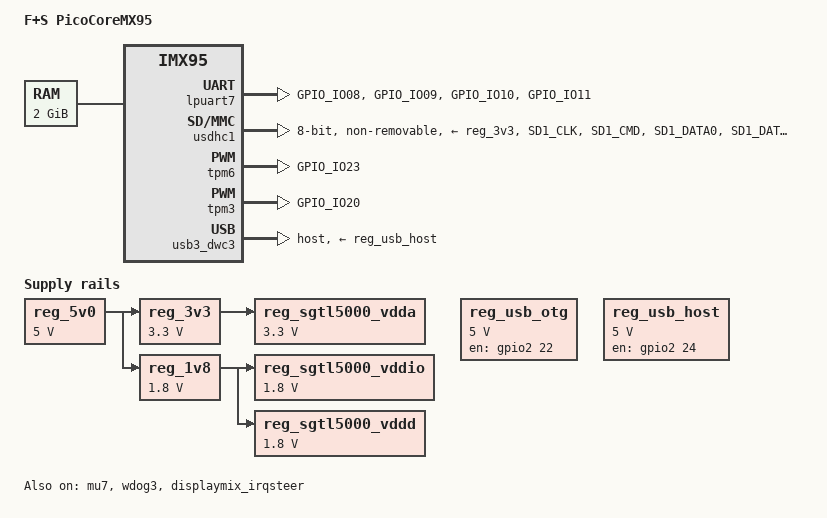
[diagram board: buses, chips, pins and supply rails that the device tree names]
// SPDX-License-Identifier: GPL-2.0
/*
 * Copyright (C) 2026 F&S Elektronik Systeme GmbH
 *
 * This program is free software; you can redistribute it and/or modify
 * it under the terms of the GNU General Public License version 2 as
 * published by the Free Software Foundation.
 */

// #include <dt-bindings/i3c/i3c.h>
// #include <dt-bindings/leds/common.h>
// #include <dt-bindings/phy/phy-imx8-pcie.h>
// #include <dt-bindings/pwm/pwm.h>
// #include <dt-bindings/usb/pd.h>
#include <dt-bindings/rtc/pcf85363.h>
#include "../freescale/imx95.dtsi"
#include <fsversion.h>

fs_eth_a: &enetc_port0 {};
fs_eth_b: &enetc_port1 {};
fs_uart_a: &lpuart7 {};
fs_uart_b: &lpuart6 {};
fs_uart_c: &lpuart1 {};
fs_uart_d: &lpuart2 {};
fs_i2c_int: &lpi2c2 {};
fs_i2c_a: &lpi2c1 {};
fs_i2c_b: &lpi2c8 {};
fs_i2c_c: &lpi2c4 {};
fs_i2c_d: &lpi2c3 {};
fs_i2s_a: &sai5 {};
fs_i2s_b: &sai4 {};
fs_spi_a: &lpspi6 {};
fs_spi_b: &lpspi1 {};
emmc: &usdhc1 {};
fs_sdio_a: &usdhc2 {};
fs_sdio_b: &usdhc3 {};
fs_can_a: &flexcan1 {};
fs_usb_otg: &usb2 {};
fs_usb_host: &usb3 {};
fs_pwm: &tpm6 {};
fs_disp_pwm: &tpm3 {};


/ {
	compatible = "fus,picocoremx95", "fsl,imx95";
	model = "F+S PicoCoreMX95";

	/delete-node/ aliases;
	aliases {
		ethernet0 = &fs_eth_a;
		ethernet1 = &fs_eth_b;
		gpio0 = &gpio1;
		gpio1 = &gpio2;
		gpio2 = &gpio3;
		gpio3 = &gpio4;
		gpio4 = &gpio5;
		i2c0 = &fs_i2c_int;
		i2c1 = &fs_i2c_a;
		i2c2 = &fs_i2c_b;
		i2c3 = &fs_i2c_c;
		i2c4 = &fs_i2c_d;
		mmc0 = &emmc;
		mmc1 = &fs_sdio_a;
		mmc2 = &fs_sdio_b;
		serial0 = &fs_uart_a;
		serial1 = &fs_uart_b;
		serial2 = &fs_uart_c;
		serial3 = &fs_uart_d;
		rtc1 = &rtc85263;
	};

	chosen {
		bootargs = "console=ttyLP0,115200";
		stdout-path = &fs_uart_a;
	};

	memory@80000000 {
		/* fixup in u-boot */
		device_type = "memory";
		reg = <0x0 0x80000000 0 0x80000000>;
	};

	reserved-memory {
		ranges;
		#address-cells = <2>;
		#size-cells = <2>;

		linux_cma: linux,cma {
			compatible = "shared-dma-pool";
			alloc-ranges = <0 0x80000000 0 0x7F000000>;
			reusable;
			size = <0 0x3c000000>;
			linux,cma-default;
		};

		vpu_boot: vpu_boot@a0000000 {
			reg = <0 0xa0000000 0 0x100000>;
			no-map;
		};

		mali_protected: mali_protected {
			reg = <0 0xa0100000 0 0x1000000>;
			no-map;
		};

		ele_reserved: ele-reserved@a4120000 {
			compatible = "shared-dma-pool";
			reg = <0 0xa4120000 0 0x100000>;
			no-map;
		};

#ifdef SUPPORT_RPMSG
		vdev0vring0: vdev0vring0@88000000 {
			reg = <0 0x88000000 0 0x8000>;
			no-map;
		};

		vdev0vring1: vdev0vring1@88008000 {
			reg = <0 0x88008000 0 0x8000>;
			no-map;
		};

		vdev1vring0: vdev1vring0@88010000 {
			reg = <0 0x88010000 0 0x8000>;
			no-map;
		};

		vdev1vring1: vdev1vring1@88018000 {
			reg = <0 0x88018000 0 0x8000>;
			no-map;
		};

		vdevbuffer: vdevbuffer@88020000 {
			compatible = "shared-dma-pool";
			reg = <0 0x88020000 0 0x100000>;
			no-map;
		};

		rsc_table: rsc-table@88220000 {
			reg = <0 0x88220000 0 0x1000>;
			no-map;
		};
#endif /* SUPPORT_RPMSG */
	};

	regulators {
		compatible = "simple-bus";
		#address-cells = <1>;
		#size-cells = <0>;

		reg_5v0: regulator-5v {
			compatible = "regulator-fixed";
			regulator-name = "5V0";
			regulator-min-microvolt = <5000000>;
			regulator-max-microvolt = <5000000>;
			regulator-always-on;
			regulator-boot-on;
		};

		reg_3v3: regulator-3v3 {
			compatible = "regulator-fixed";
			regulator-name = "3V3";
			regulator-min-microvolt = <3300000>;
			regulator-max-microvolt = <3300000>;
			vin-supply = <&reg_5v0>;
			regulator-always-on;
			regulator-boot-on;
		};

		reg_1v8: regulator-1v8 {
			compatible = "regulator-fixed";
			regulator-name = "1V8";
			regulator-min-microvolt = <1800000>;
			regulator-max-microvolt = <1800000>;
			vin-supply = <&reg_5v0>;
			regulator-always-on;
			regulator-boot-on;
		};

		reg_usb_otg: regulator_usb_otg {
			compatible = "regulator-fixed";
			regulator-name = "usb-otg";
			regulator-min-microvolt = <5000000>;
			regulator-max-microvolt = <5000000>;
			gpio = <&gpio2 22 GPIO_ACTIVE_HIGH>;
			enable-active-high;
		};

		reg_usb_host: regulator_usb_host {
			compatible = "regulator-fixed";
			regulator-name = "usb-host";
			regulator-min-microvolt = <5000000>;
			regulator-max-microvolt = <5000000>;
			gpio = <&gpio2 24 GPIO_ACTIVE_HIGH>;
			enable-active-high;
		};

		/* SGTL5000 analog voltage */
 		reg_sgtl5000_vdda: sgtl5000_vdda {
 			compatible = "regulator-fixed";
 			regulator-name = "VDDA-supply";
 			regulator-min-microvolt = <3300000>;
 			regulator-max-microvolt = <3300000>;
			vin-supply = <&reg_3v3>;
 			regulator-always-on;
 		};

 		/* SGTL5000 I/O voltage */
 		reg_sgtl5000_vddio: sgtl5000_vddio {
 			compatible = "regulator-fixed";
 			regulator-name = "VDDIO-supply";
 			regulator-min-microvolt = <1800000>;
 			regulator-max-microvolt = <1800000>;
			vin-supply = <&reg_1v8>;
			regulator-always-on;
 		};

 		/* SGTL5000 internal digital voltage */
 		reg_sgtl5000_vddd: sgtl5000_vddd {
 			compatible = "regulator-fixed";
 			regulator-name = "VDDD-supply";
 			regulator-min-microvolt = <1800000>;
 			regulator-max-microvolt = <1800000>;
			vin-supply = <&reg_1v8>;
 			regulator-always-on;
		};
	};

	mali_pma: protected-memory-allocator {
		 compatible = "arm,protected-memory-allocator";
		 memory-region = <&mali_protected>;
	};

	/* NOTE:
	 * SGTL SYSCLK supports only one static frequency, here it is 48kHz.
	 * Simple-Audio-Card only supports 48Khz for Input and Output.
	 * use this driver to force user-space to use 48kHz sample rate.
	 */
	sound_sgtl5000: sound {
		compatible = "simple-audio-card";
		simple-audio-card,name = "sgtl5000-audio";
		simple-audio-card,format = "i2s";
		simple-audio-card,frame-master = <&cpu_dai>;
		simple-audio-card,bitclock-master = <&cpu_dai>;
		status = "disabled";

		cpu_dai: simple-audio-card,cpu {
			sound-dai = <&fs_i2s_a>;
		};

		codec_dai: simple-audio-card,codec {
			sound-dai = <&sgtl5000>;
		};
	};

#ifdef SUPPORT_RPMSG
	cm7: imx95-cm7 {
		compatible = "fsl,imx95-cm7";
		mbox-names = "tx", "rx", "rxdb";
		mboxes = <&mu7 0 1
			  &mu7 1 1
			  &mu7 3 1>;
		memory-region = <&vdevbuffer>, <&vdev0vring0>, <&vdev0vring1>,
				<&vdev1vring0>, <&vdev1vring1>, <&rsc_table>;
		/* cpuid and lmmid must align with SM firmware */
		fsl,cpu-id = <1>;
		fsl,lmm-id = <1>;
		fsl,startup-delay-ms = <50>;
		status = "okay";
	};
#endif /* SUPPORT_RPMSG */

};

/* ==== Ethernet ==== */
/* The default setting in i.mx95.dtsi are for i.MX95 19x19,
 * so change them for i.MX95 15x15 here.
 */
&netc_bus0 {
	msi-map = <0x00 &its 0x60 0x1>,	//ENETC0 PF
		  <0x10 &its 0x61 0x1>, //ENETC0 VF0
		  <0x20 &its 0x62 0x1>, //ENETC0 VF1
		  <0x40 &its 0x63 0x1>, //ENETC1 PF
		  <0x50 &its 0x65 0x1>, //ENETC1 VF0
		  <0x60 &its 0x66 0x1>, //ENETC1 VF1
		  <0x80 &its 0x64 0x1>, //ENETC2 PF
		  <0xc0 &its 0x67 0x1>; //NETC Timer
	iommu-map = <0x0 &smmu 0x20 0x1>,
		    <0x10 &smmu 0x21 0x1>,
		    <0x20 &smmu 0x22 0x1>,
		    <0x40 &smmu 0x23 0x1>,
		    <0x50 &smmu 0x25 0x1>,
		    <0x60 &smmu 0x26 0x1>,
		    <0x80 &smmu 0x24 0x1>,
		    <0xc0 &smmu 0x27 0x1>;
};

// TODO: Check if needed
&netc_timer {
	status = "disabled";
};

&netc_blk_ctrl {
	status = "disabled";
};

&netc_emdio {
	pinctrl-0 = <&pinctrl_emdio>;
	pinctrl-names = "default";
	status = "disabled";

	//TODO: Phys
	// RESET via SM
	ethphy0: ethernet-phy@4 {
		reg = <4>;
		// reset-assert-us = <10000>;
		// reset-deassert-us = <150000>;
		// reset-gpios = <&dummy 4 GPIO_ACTIVE_LOW>;
		realtek,clkout-disable;
		interrupt-parent = <&gpio4>;
		interrupts = <14 IRQ_TYPE_EDGE_FALLING>;
	};

	ethphy1: ethernet-phy@5 {
		reg = <5>;
		// reset-assert-us = <10000>;
		// reset-deassert-us = <150000>;
		// reset-gpios = <&dummy 5 GPIO_ACTIVE_LOW>;
		realtek,clkout-disable;
		interrupt-parent = <&gpio4>;
		interrupts = <15 IRQ_TYPE_EDGE_FALLING>;
	};
};

&fs_eth_a {
	pinctrl-0 = <&pinctrl_enetc0>;
	pinctrl-names = "default";
	phy-mode = "rgmii-id";
	phy-handle = <&ethphy0>;
	status = "disabled";
};

&fs_eth_b {
	pinctrl-0 = <&pinctrl_enetc1>;
	pinctrl-names = "default";
	phy-mode = "rgmii-id";
	phy-handle = <&ethphy1>;
	status = "disabled";
};

/* ==== UART ==== */
&fs_uart_a {
	pinctrl-0 = <&pinctrl_lpuart7>;
	pinctrl-names = "default";
	status = "okay";
};

&fs_uart_b {
	pinctrl-0 = <&pinctrl_lpuart6>;
	pinctrl-names = "default";
	status = "disabled";
};

&fs_uart_c {
	pinctrl-0 = <&pinctrl_lpuart1>;
	pinctrl-names = "default";
	status = "disabled";
};

&fs_uart_d {
	pinctrl-0 = <&pinctrl_lpuart2>;
	pinctrl-names = "default";
	status = "disabled";
};

/* ==== I2C ==== */
&fs_i2c_int {
	/* LPI2C2 reserved for Cortex-M33 */
	pinctrl-0 = <&pinctrl_lpi2c2>;
	pinctrl-names = "default";
	#address-cells = <1>;
	#size-cells = <0>;
	status = "disabled";

	rtc85263: rtc85263@51 {
		compatible = "nxp,pcf85263";
		reg = <0x51>;
		clock-out = <PCF85363_COF_32768Hz>;
		quartz-load-femtofarads = <PCF85363_CAP_12p5pF>;
		quartz-drive-strength = <PCF85363_OSC_DRIVE_LOW>;
	};

	pcal6408: pcal6408@21 {
		compatible = "nxp,pcal6408";
		reg = <0x21>;
		gpio-controller;
		#gpio-cells = <2>;
		interrupt-parent = <&gpio1>;
		interrupts = <10 IRQ_TYPE_EDGE_FALLING>;
		interrupt-controller;
		#interrupt-cells = <2>;
		vcc-supply = <&reg_5v0>;
		gpio-line-names =
		/* 0-3 */	"V_ARM_PGOOD","V_SOC_PGOOD","RTC_IRQ","PMIC_IRQ",
		/* 4-7 */	"PCIe_WAKE","PCIE_PERST","ETH_A_PHY_RST","ETH_B_PHY_RST";
	};
};

&fs_i2c_a {
	pinctrl-0 = <&pinctrl_lpi2c1>;
	pinctrl-names = "default";
	#address-cells = <1>;
	#size-cells = <0>;
	status = "disabled";

	eeprom: eeprom@50 {
		compatible = "onnn,n24s64b", "atmel,24c64";
		reg = <0x50>;
		size = <8192>;
		pagesize = <32>;
	};
};

&fs_i2c_b {
	pinctrl-0 = <&pinctrl_lpi2c8>;
	pinctrl-names = "default";
	#address-cells = <1>;
	#size-cells = <0>;
	status = "disabled";
};

&fs_i2c_c {
	pinctrl-0 = <&pinctrl_lpi2c4>;
	pinctrl-names = "default";
	#address-cells = <1>;
	#size-cells = <0>;
	status = "disabled";
};

&fs_i2c_d {
	pinctrl-0 = <&pinctrl_lpi2c3>;
	pinctrl-names = "default";
	#address-cells = <1>;
	#size-cells = <0>;
	status = "disabled";

	sgtl5000: sgtl5000@a {
		/* NOTE: Codec supports only 48KHz */
		compatible = "fsl,sgtl5000";
		#sound-dai-cells = <0>;
		reg = <0xa>;
		VDDA-supply = <&reg_sgtl5000_vdda>;
		VDDIO-supply = <&reg_sgtl5000_vddio>;
		VDDD-supply = <&reg_sgtl5000_vddd>;
		clocks = <&scmi_clk IMX95_CLK_CCMCKO1>;
		clock-names = "mclk";
		assigned-clocks = <&scmi_clk IMX95_CLK_CCMCKO1>;
		assigned-clock-parents = <&scmi_clk IMX95_CLK_AUDIOPLL1>;
		assigned-clock-rates = <12288000>; //48kHz * 256
		mono2both;
		status = "disabled";
	};
};

/* ==== SAI ==== */
&fs_i2s_a {
	#sound-dai-cells = <0>;
	pinctrl-0 = <&pinctrl_sai5>;
	pinctrl-names = "default";
	assigned-clocks = <&scmi_clk IMX95_CLK_AUDIOPLL1_VCO>,
			  <&scmi_clk IMX95_CLK_AUDIOPLL2_VCO>,
			  <&scmi_clk IMX95_CLK_AUDIOPLL1>,
			  <&scmi_clk IMX95_CLK_AUDIOPLL2>,
			  <&scmi_clk IMX95_CLK_SAI5>;
	assigned-clock-parents = <0>, <0>, <0>, <0>, <&scmi_clk IMX95_CLK_AUDIOPLL1>;
	assigned-clock-rates = <3932160000>, <3612672000>, <393216000>, <361267200>, <12288000>;
	status = "disabled";
};

&fs_i2s_b {
	#sound-dai-cells = <0>;
	pinctrl-0 = <&pinctrl_sai4>;
	pinctrl-names = "default";
	status = "disabled";
};

/* ==== SPI ==== */
&fs_spi_a {
	pinctrl-0 = <&pinctrl_lpspi6>;
	pinctrl-names = "default";
	// cs-gpios = <&gpio2 0 GPIO_ACTIVE_LOW>;
	// num-cs = <1>;
	status = "disabled";
};

&fs_spi_b {
	pinctrl-0 = <&pinctrl_lpspi1>;
	pinctrl-names = "default";
	// cs-gpios = <&gpio1 11 GPIO_ACTIVE_LOW>;
	// num-cs = <1>;
	status = "disabled";
#if CONFIG_PICOCOREMX95_BOARD_REVISION == 100
	swap_sout_sin;
#endif
};

/* ==== SDIO ==== */
&emmc {
	pinctrl-names = "default", "state_100mhz", "state_200mhz";
	pinctrl-0 = <&pinctrl_usdhc1>;
	pinctrl-1 = <&pinctrl_usdhc1_100mhz>;
	pinctrl-2 = <&pinctrl_usdhc1_200mhz>;
	vmmc-supply = <&reg_3v3>;
	vqmmc-supply = <&reg_1v8>;
	bus-width = <8>;
	mmc-hs200-1_8v;
	mmc-hs400-1_8v;
	non-removable;
	status = "okay";
};

&fs_sdio_a {
	pinctrl-names = "default", "state_100mhz", "state_200mhz";
	pinctrl-0 = <&pinctrl_usdhc2>;
	pinctrl-1 = <&pinctrl_usdhc2_100mhz>;
	pinctrl-2 = <&pinctrl_usdhc2_200mhz>;
	bus-width = <4>;
	status = "disabled";
};

&fs_sdio_b {
	pinctrl-names = "default", "state_100mhz", "state_200mhz";
	pinctrl-0 = <&pinctrl_usdhc3>;
	pinctrl-1 = <&pinctrl_usdhc3_100mhz>;
	pinctrl-2 = <&pinctrl_usdhc3_200mhz>;
	bus-width = <4>;
	status = "disabled";
};

/* ==== CAN ==== */
&fs_can_a {
	pinctrl-0 = <&pinctrl_flexcan1>;
	pinctrl-names = "default";
	status = "disabled";
};

/* ==== USB ==== */
/* OTG */
&fs_usb_otg {
	dr_mode = "otg";
	vbus-supply = <&reg_usb_otg>;
	disable-over-current;
	status = "disabled";
};

/* HOST */
&fs_usb_host {
	status = "disabled";
};

&usb3_dwc3 {
	dr_mode = "host";
	vbus-supply = <&reg_usb_host>;
};

&usb3_phy {
	status = "disabled";
};

/* ==== PWM ====*/
&fs_pwm {
	pinctrl-0 = <&pinctrl_tpm6>;
	pinctrl-names = "default";
};

&fs_disp_pwm {
	pinctrl-0 = <&pinctrl_tpm3>;
	pinctrl-names = "default";
};

/* ==== GPIOs ==== */
&gpio1 {
	/* GPIO1 reserved for Cortex-M33 */
	pinctrl-0 = <&pinctrl_gpio1>;
	pinctrl-names = "default";
	status = "disabled";

	gpio-line-names = 
	/* 0 */   "I2C_A_SCL", "I2C_A_SDA", "I2C_SM_SCL", "I2C_SM_SDA",
	/* 4 */   "UART_C_RX", "UART_C_TX", "UART_D_RX", "UART_D_TX",
	/* 8 */   "", "", "IOEXP_IRQ", "SPI_B_CS",
	/* 12 */  "SPI_B_MISO", "SPI_B_CLK", "SPI_B_MOSI", "",
	/* 16 */  "", "", "", "",
	/* 20 */  "", "", "", "",
	/* 24 */  "", "", "", "",
	/* 28 */  "", "", "", "";
};

&gpio2 {
	pinctrl-0 = <&pinctrl_gpio2>;
	pinctrl-names = "default";
	status = "okay";

	gpio-line-names = 
	/* 0 */   "SPI_A_CS", "SPI_A_MISO", "SPI_A_MOSI", "SPI_A_CLK",
	/* 4 */   "UART_B_TX", "UART_B_RX", "UART_B_CTS", "UART_B_RTS",
	/* 8 */   "UART_A_TX", "UART_A_RX", "UART_A_CTS", "UART_A_RTS",
	/* 12 */  "I2C_B_SDA", "I2C_B_SCL", "GPIO_J1_7", "I2C_B_IRQ",
	/* 16 */  "GPIO_J1_44", "GPIO_J1_46", "GPIO_J1_52", "GPIO_J1_54",
	/* 20 */  "DISP_BL_PWM", "DISP_VDD_EN", "USB_OTG_PWR", "PWM",
	/* 24 */  "USB_HOST_PWR", "USB_TYPEC_EN", "DISP_BL_EN", "USB_TYPEC_EN",
	/* 28 */  "I2C_D_SDA", "I2C_D_SCL", "I2C_C_SDA", "I2C_C_SCL";
};

&gpio3 {
	pinctrl-0 = <&pinctrl_gpio3>;
	pinctrl-names = "default";
	status = "okay";

	gpio-line-names = 
	/* 0 */   "SD_A_CD", "SD_A_CLK", "SD_A_CMD", "SD_A_D0",
	/* 4 */   "SD_A_D1", "SD_A_D2", "SD_A_D3", "SD_A_D4",
	/* 8 */   "eMMC_CLK", "eMMC_CMD", "eMMC_D0", "eMMC_D1",
	/* 12 */  "eMMC_D2", "eMMC_D3", "eMMC_D4", "eMMC_D5",
	/* 16 */  "eMMC_D6", "eMMC_D7", "eMMC_DS", "SD_A_VSEL",
	/* 20 */  "SD_B_CLK", "SD_B_CMD", "SD_B_D0", "SD_B_D1",
	/* 24 */  "SD_B_D2", "SD_B_D3", "I2S_A_MCLK", "GPIO_J2_87",
	/* 28 */  "I2S_B_MCLK", "", "", "";
};

&gpio4 {
	pinctrl-0 = <&pinctrl_gpio4>;
	pinctrl-names = "default";
	status = "okay";

	gpio-line-names = 
	/* 0 */   "RGMII_MDC", "RGMII_MDIO", "ETH_A_RGMII_TXD3", "ETH_A_RGMII_TXD2",
	/* 4 */   "ETH_A_RGMII_TXD1", "ETH_A_RGMII_TXD0", "ETH_A_RGMII_TXCTL", "ETH_A_RGMII_TXC",
	/* 8 */   "ETH_A_RGMII_RXCTL", "ETH_A_RGMII_RXC", "ETH_A_RGMII_RXD0", "ETH_A_RGMII_RXD1",
	/* 12 */  "ETH_A_RGMII_RXD2", "ETH_A_RGMII_RXD3", "ETH_A_PHY_INT", "ETH_B_PHY_INT",
	/* 16 */  "ETH_B_RGMII_TXD3", "ETH_B_RGMII_TXD2", "ETH_B_RGMII_TXD1", "ETH_B_RGMII_TXD0",
	/* 20 */  "ETH_B_RGMII_TXCTL", "ETH_B_RGMII_TXC", "ETH_B_RGMII_RXCTL", "ETH_B_RGMII_RXC",
	/* 24 */  "ETH_B_RGMII_RXD0", "ETH_B_RGMII_RXD1", "ETH_B_RGMII_RXD2", "ETH_B_RGMII_RXD3",
	/* 28 */  "", "GPIO_J2_89", "", "";
};

&gpio5 {
	pinctrl-0 = <&pinctrl_gpio5>;
	pinctrl-names = "default";
	status = "okay";

	gpio-line-names = 
	/* 0 */   "I2S_B_TX_BITCLK", "I2S_B_TX_LRCLK", "I2S_B_DOUT", "I2S_B_DIN",
	/* 4 */   "I2S_A_DOUT", "I2S_A_LRCLK", "I2S_A_BITCLK", "I2S_A_DIN",
	/* 8 */   "GPIO_J2_85", "", "", "GPIO_J2_83",
	/* 12 */  "", "", "", "",
	/* 16 */  "", "", "", "",
	/* 20 */  "", "", "", "",
	/* 24 */  "", "", "", "",
	/* 28 */  "", "", "", "";
};

/* ==== MISC ==== */
&ele_if0 {
	memory-region = <&ele_reserved>;
};

#ifdef SUPPORT_RPMSG
&mu7 {
	status = "okay";
};
#endif

&wdog3 {
	status = "okay";
};

&displaymix_irqsteer {
	status = "okay";
};

&vpuctrl {
	boot = <&vpu_boot>;
	sram = <&sram1>;
};

&mali {
	protected-memory-allocator = <&mali_pma>;
};

&neoisp0 {
	status = "disabled";
};

&dpu {
	status = "disabled";
};

&adc1 {
	vref-supply = <&reg_1v8>;
	status = "disabled";
};

&pcie0 {
	/* TODO: GPIO-Support from SM */
	// reset-gpio = <&gpio5 13 GPIO_ACTIVE_LOW>;
	status = "disabled";
};

&pcie0_ep {
	status = "disabled";
};

// TODO:
// &scmi_misc {
// 	nxp,ctrl-ids = <BRD_SM_CTRL_SD3_WAKE		1>,
// 		       <BRD_SM_CTRL_PCIE1_WAKE		1>,
// 		       <BRD_SM_CTRL_BT_WAKE		1>,
// 		       <BRD_SM_CTRL_PCIE2_WAKE		1>,
// 		       <BRD_SM_CTRL_BUTTON		1>;
// };

&thermal_zones {
	pf09-thermal {
		polling-delay = <2000>;
		polling-delay-passive = <250>;
		thermal-sensors = <&scmi_sensor 2>;

		trips {
			pf09_alert: trip0 {
				hysteresis = <2000>;
				temperature = <140000>;
				type = "passive";
			};

			pf09_crit: trip1 {
				hysteresis = <2000>;
				temperature = <155000>;
				type = "critical";
			};
		};
	};

	pf53arm-thermal {
		polling-delay = <2000>;
		polling-delay-passive = <250>;
		thermal-sensors = <&scmi_sensor 4>;

		cooling-maps {
			map0 {
				cooling-device = <&A55_0 THERMAL_NO_LIMIT THERMAL_NO_LIMIT>,
						 <&A55_1 THERMAL_NO_LIMIT THERMAL_NO_LIMIT>,
						 <&A55_2 THERMAL_NO_LIMIT THERMAL_NO_LIMIT>,
						 <&A55_3 THERMAL_NO_LIMIT THERMAL_NO_LIMIT>,
						 <&A55_4 THERMAL_NO_LIMIT THERMAL_NO_LIMIT>,
						 <&A55_5 THERMAL_NO_LIMIT THERMAL_NO_LIMIT>;
				trip = <&pf5301_alert>;
			};
		};

		trips {
			pf5301_alert: trip0 {
				hysteresis = <2000>;
				temperature = <140000>;
				type = "passive";
			};

			pf5301_crit: trip1 {
				hysteresis = <2000>;
				temperature = <155000>;
				type = "critical";
			};
		};
	};

	pf53soc-thermal {
		polling-delay = <2000>;
		polling-delay-passive = <250>;
		thermal-sensors = <&scmi_sensor 3>;

		trips {
			pf5302_alert: trip0 {
				hysteresis = <2000>;
				temperature = <140000>;
				type = "passive";
			};

			pf5302_crit: trip1 {
				hysteresis = <2000>;
				temperature = <155000>;
				type = "critical";
			};
		};
	};
};

/* ==== IOMUXC ==== */
&scmi_iomuxc {
	pinctrl_emdio: emdiogrp {
		fsl,pins = <
			IMX95_PAD_ENET1_MDC__NETCMIX_TOP_NETC_MDC	0x50e
			IMX95_PAD_ENET1_MDIO__NETCMIX_TOP_NETC_MDIO	0x90e
		>;
	};

	pinctrl_enetc0: enetc0grp {
		fsl,pins = <
			IMX95_PAD_ENET1_TD3__NETCMIX_TOP_ETH0_RGMII_TD3		0x50e
			IMX95_PAD_ENET1_TD2__NETCMIX_TOP_ETH0_RGMII_TD2		0x50e
			IMX95_PAD_ENET1_TD1__NETCMIX_TOP_ETH0_RGMII_TD1		0x50e
			IMX95_PAD_ENET1_TD0__NETCMIX_TOP_ETH0_RGMII_TD0		0x50e
			IMX95_PAD_ENET1_TX_CTL__NETCMIX_TOP_ETH0_RGMII_TX_CTL	0x50e
			IMX95_PAD_ENET1_TXC__NETCMIX_TOP_ETH0_RGMII_TX_CLK	0x50e
			IMX95_PAD_ENET1_RX_CTL__NETCMIX_TOP_ETH0_RGMII_RX_CTL	0x50e
			IMX95_PAD_ENET1_RXC__NETCMIX_TOP_ETH0_RGMII_RX_CLK	0x50e
			IMX95_PAD_ENET1_RD0__NETCMIX_TOP_ETH0_RGMII_RD0		0x50e
			IMX95_PAD_ENET1_RD1__NETCMIX_TOP_ETH0_RGMII_RD1		0x50e
			IMX95_PAD_ENET1_RD2__NETCMIX_TOP_ETH0_RGMII_RD2		0x50e
			IMX95_PAD_ENET1_RD3__NETCMIX_TOP_ETH0_RGMII_RD3		0x50e
		>;
	};

	pinctrl_enetc1: enetc1grp {
		fsl,pins = <
			IMX95_PAD_ENET2_TD3__NETCMIX_TOP_ETH1_RGMII_TD3		0x50e
			IMX95_PAD_ENET2_TD2__NETCMIX_TOP_ETH1_RGMII_TD2		0x50e
			IMX95_PAD_ENET2_TD1__NETCMIX_TOP_ETH1_RGMII_TD1		0x50e
			IMX95_PAD_ENET2_TD0__NETCMIX_TOP_ETH1_RGMII_TD0		0x50e
			IMX95_PAD_ENET2_TX_CTL__NETCMIX_TOP_ETH1_RGMII_TX_CTL	0x50e
			IMX95_PAD_ENET2_TXC__NETCMIX_TOP_ETH1_RGMII_TX_CLK	0x50e
			IMX95_PAD_ENET2_RX_CTL__NETCMIX_TOP_ETH1_RGMII_RX_CTL	0x50e
			IMX95_PAD_ENET2_RXC__NETCMIX_TOP_ETH1_RGMII_RX_CLK	0x50e
			IMX95_PAD_ENET2_RD0__NETCMIX_TOP_ETH1_RGMII_RD0		0x50e
			IMX95_PAD_ENET2_RD1__NETCMIX_TOP_ETH1_RGMII_RD1		0x50e
			IMX95_PAD_ENET2_RD2__NETCMIX_TOP_ETH1_RGMII_RD2		0x50e
			IMX95_PAD_ENET2_RD3__NETCMIX_TOP_ETH1_RGMII_RD3		0x50e
		>;
	};

	pinctrl_lpuart7: lpuart7grp {
		fsl,pins = <
			IMX95_PAD_GPIO_IO08__LPUART7_TX		0x50e
			IMX95_PAD_GPIO_IO09__LPUART7_RX		0x50e
			IMX95_PAD_GPIO_IO10__LPUART7_CTS_B	0x50e
			IMX95_PAD_GPIO_IO11__LPUART7_RTS_B	0x50e
		>;
	};

	pinctrl_lpuart6: lpuart6grp {
		fsl,pins = <
			IMX95_PAD_GPIO_IO04__LPUART6_TX		0x50e
			IMX95_PAD_GPIO_IO05__LPUART6_RX		0x50e
			IMX95_PAD_GPIO_IO06__LPUART6_CTS_B	0x50e
			IMX95_PAD_GPIO_IO07__LPUART6_RTS_B	0x50e
		>;
	};

	pinctrl_lpuart1: lpuart1grp{
		fsl,pins = <
			IMX95_PAD_UART1_RXD__AONMIX_TOP_LPUART1_RX	0x50e
			IMX95_PAD_UART1_TXD__AONMIX_TOP_LPUART1_TX	0x50e
		>;
	};

	pinctrl_lpuart2: lpuart2grp{
		fsl,pins = <
			IMX95_PAD_UART2_RXD__AONMIX_TOP_LPUART2_RX	0x50e
			IMX95_PAD_UART2_TXD__AONMIX_TOP_LPUART2_TX	0x50e
		>;
	};

	pinctrl_lpi2c1: lpi2c1grp {
		fsl,pins = <
			IMX95_PAD_I2C1_SCL__AONMIX_TOP_LPI2C1_SCL	0x4000099e
			IMX95_PAD_I2C1_SDA__AONMIX_TOP_LPI2C1_SDA	0x4000099e
		>;
	};

	pinctrl_lpi2c2: lpi2c1grp {
		fsl,pins = <
			IMX95_PAD_I2C2_SCL__AONMIX_TOP_LPI2C2_SCL	0x4000099e
			IMX95_PAD_I2C2_SDA__AONMIX_TOP_LPI2C2_SDA	0x4000099e
		>;
	};

	pinctrl_lpi2c8: lpi2c8grp {
		fsl,pins = <
			IMX95_PAD_GPIO_IO12__LPI2C8_SDA		0x4000099e
			IMX95_PAD_GPIO_IO13__LPI2C8_SCL		0x4000099e
		>;
	};

	pinctrl_lpi2c4: lpi2c4grp {
		fsl,pins = <
			IMX95_PAD_GPIO_IO30__LPI2C4_SDA		0x4000099e
			IMX95_PAD_GPIO_IO31__LPI2C4_SCL		0x4000099e
		>;
	};

	pinctrl_lpi2c3: lpi2c3grp {
		fsl,pins = <
			IMX95_PAD_GPIO_IO28__LPI2C3_SDA		0x4000099e
			IMX95_PAD_GPIO_IO29__LPI2C3_SCL		0x4000099e
		>;
	};

	pinctrl_sai4: sai4grp {
		fsl,pins = <
			IMX95_PAD_XSPI1_DATA3__SAI4_RX_DATA_BIT0	0x31e
			IMX95_PAD_XSPI1_DATA2__SAI4_TX_DATA_BIT0	0x31e
			IMX95_PAD_XSPI1_DATA1__SAI4_TX_SYNC		0x31e
			IMX95_PAD_XSPI1_DATA0__SAI4_TX_BCLK		0x31e
			IMX95_PAD_XSPI1_SCLK__SAI4_RX_SYNC		0x31e
			IMX95_PAD_XSPI1_SS0_B__SAI4_RX_BCLK		0x31e
			IMX95_PAD_CCM_CLKO3__CCMSRCGPCMIX_TOP_CLKO_3	0x31e
		>;

	};

	pinctrl_sai5: sai5grp {
		fsl,pins = <
			IMX95_PAD_XSPI1_DATA7__SAI5_RX_DATA_BIT0	0x31e
			IMX95_PAD_XSPI1_DATA6__SAI5_TX_BCLK		0x31e
			IMX95_PAD_XSPI1_DATA5__SAI5_TX_SYNC		0x31e
			IMX95_PAD_XSPI1_DATA4__SAI5_TX_DATA_BIT0	0x31e
			IMX95_PAD_CCM_CLKO1__CCMSRCGPCMIX_TOP_CLKO_1	0x31e
		>;
	};

	pinctrl_lpspi6: lpspi6grp {
		fsl,pins = <
			IMX95_PAD_GPIO_IO00__LPSPI6_PCS0	0x31e
			// IMX95_PAD_GPIO_IO00__GPIO2_IO_BIT0	0x31e
			IMX95_PAD_GPIO_IO01__LPSPI6_SIN		0x31e
			IMX95_PAD_GPIO_IO02__LPSPI6_SOUT	0x31e
			IMX95_PAD_GPIO_IO03__LPSPI6_SCK		0x31e
		>;
	};

	pinctrl_lpspi1: lpspi1grp {
		fsl,pins = <
			IMX95_PAD_SAI1_TXFS__AONMIX_TOP_LPSPI1_PCS0	0x31e
			// IMX95_PAD_SAI1_TXFS__AONMIX_TOP_GPIO1_IO_BIT11	0x31e
			IMX95_PAD_SAI1_TXC__AONMIX_TOP_LPSPI1_SIN	0x31e
			IMX95_PAD_SAI1_TXD0__AONMIX_TOP_LPSPI1_SCK	0x31e
			IMX95_PAD_SAI1_RXD0__AONMIX_TOP_LPSPI1_SOUT	0x31e
		>;
	};

	pinctrl_usdhc1: usdhc1grp {
		fsl,pins = <
			IMX95_PAD_SD1_CLK__USDHC1_CLK			0x158e
			IMX95_PAD_SD1_CMD__USDHC1_CMD			0x138e
			IMX95_PAD_SD1_DATA0__USDHC1_DATA0		0x138e
			IMX95_PAD_SD1_DATA1__USDHC1_DATA1		0x138e
			IMX95_PAD_SD1_DATA2__USDHC1_DATA2		0x138e
			IMX95_PAD_SD1_DATA3__USDHC1_DATA3		0x138e
			IMX95_PAD_SD1_DATA4__USDHC1_DATA4		0x138e
			IMX95_PAD_SD1_DATA5__USDHC1_DATA5		0x138e
			IMX95_PAD_SD1_DATA6__USDHC1_DATA6		0x138e
			IMX95_PAD_SD1_DATA7__USDHC1_DATA7		0x138e
			IMX95_PAD_SD1_STROBE__USDHC1_STROBE		0x158e
		>;
	};

	pinctrl_usdhc1_100mhz: usdhc1-100mhzgrp {
		fsl,pins = <
			IMX95_PAD_SD1_CLK__USDHC1_CLK				0x158e
			IMX95_PAD_SD1_CMD__USDHC1_CMD				0x138e
			IMX95_PAD_SD1_DATA0__USDHC1_DATA0			0x138e
			IMX95_PAD_SD1_DATA1__USDHC1_DATA1			0x138e
			IMX95_PAD_SD1_DATA2__USDHC1_DATA2			0x138e
			IMX95_PAD_SD1_DATA3__USDHC1_DATA3			0x138e
			IMX95_PAD_SD1_DATA4__USDHC1_DATA4			0x138e
			IMX95_PAD_SD1_DATA5__USDHC1_DATA5			0x138e
			IMX95_PAD_SD1_DATA6__USDHC1_DATA6			0x138e
			IMX95_PAD_SD1_DATA7__USDHC1_DATA7			0x138e
			IMX95_PAD_SD1_STROBE__USDHC1_STROBE			0x158e
		>;
	};

	pinctrl_usdhc1_200mhz: usdhc1-200mhzgrp {
		fsl,pins = <
			IMX95_PAD_SD1_CLK__USDHC1_CLK				0x15fe
			IMX95_PAD_SD1_CMD__USDHC1_CMD				0x13fe
			IMX95_PAD_SD1_DATA0__USDHC1_DATA0			0x13fe
			IMX95_PAD_SD1_DATA1__USDHC1_DATA1			0x13fe
			IMX95_PAD_SD1_DATA2__USDHC1_DATA2			0x13fe
			IMX95_PAD_SD1_DATA3__USDHC1_DATA3			0x13fe
			IMX95_PAD_SD1_DATA4__USDHC1_DATA4			0x13fe
			IMX95_PAD_SD1_DATA5__USDHC1_DATA5			0x13fe
			IMX95_PAD_SD1_DATA6__USDHC1_DATA6			0x13fe
			IMX95_PAD_SD1_DATA7__USDHC1_DATA7			0x13fe
			IMX95_PAD_SD1_STROBE__USDHC1_STROBE			0x15fe
		>;
	};

	pinctrl_usdhc2: usdhc2grp {
		fsl,pins = <
			IMX95_PAD_SD2_CLK__USDHC2_CLK			0x158e
			IMX95_PAD_SD2_CMD__USDHC2_CMD			0x138e
			IMX95_PAD_SD2_DATA0__USDHC2_DATA0		0x138e
			IMX95_PAD_SD2_DATA1__USDHC2_DATA1		0x138e
			IMX95_PAD_SD2_DATA2__USDHC2_DATA2		0x138e
			IMX95_PAD_SD2_DATA3__USDHC2_DATA3		0x138e
			IMX95_PAD_SD2_VSELECT__USDHC2_VSELECT		0x51e
			IMX95_PAD_SD2_RESET_B__USDHC2_RESET_B		0x31e
			IMX95_PAD_SD2_CD_B__USDHC2_CD_B			0x31e
			// IMX95_PAD_SD2_CD_B__GPIO3_IO_BIT0		0x31e
		>;
	};

	pinctrl_usdhc2_100mhz: usdhc2-100mhzgrp {
		fsl,pins = <
			IMX95_PAD_SD2_CLK__USDHC2_CLK			0x158e
			IMX95_PAD_SD2_CMD__USDHC2_CMD			0x138e
			IMX95_PAD_SD2_DATA0__USDHC2_DATA0		0x138e
			IMX95_PAD_SD2_DATA1__USDHC2_DATA1		0x138e
			IMX95_PAD_SD2_DATA2__USDHC2_DATA2		0x138e
			IMX95_PAD_SD2_DATA3__USDHC2_DATA3		0x138e
			IMX95_PAD_SD2_VSELECT__USDHC2_VSELECT		0x51e
			IMX95_PAD_SD2_RESET_B__USDHC2_RESET_B		0x31e
			IMX95_PAD_SD2_CD_B__USDHC2_CD_B			0x31e
			// IMX95_PAD_SD2_CD_B__GPIO3_IO_BIT0		0x31e
		>;
	};

	pinctrl_usdhc2_200mhz: usdhc2-200mhzgrp {
		fsl,pins = <
			IMX95_PAD_SD2_CLK__USDHC2_CLK			0x15fe
			IMX95_PAD_SD2_CMD__USDHC2_CMD			0x13fe
			IMX95_PAD_SD2_DATA0__USDHC2_DATA0		0x13fe
			IMX95_PAD_SD2_DATA1__USDHC2_DATA1		0x13fe
			IMX95_PAD_SD2_DATA2__USDHC2_DATA2		0x13fe
			IMX95_PAD_SD2_DATA3__USDHC2_DATA3		0x13fe
			IMX95_PAD_SD2_VSELECT__USDHC2_VSELECT		0x51e
			IMX95_PAD_SD2_RESET_B__USDHC2_RESET_B		0x31e
			IMX95_PAD_SD2_CD_B__USDHC2_CD_B			0x31e
			// IMX95_PAD_SD2_CD_B__GPIO3_IO_BIT0		0x31e
		>;
	};

	pinctrl_usdhc3: usdhc3grp {
		fsl,pins = <
			IMX95_PAD_SD3_CLK__USDHC3_CLK				0x158e
			IMX95_PAD_SD3_CMD__USDHC3_CMD				0x138e
			IMX95_PAD_SD3_DATA0__USDHC3_DATA0			0x138e
			IMX95_PAD_SD3_DATA1__USDHC3_DATA1			0x138e
			IMX95_PAD_SD3_DATA2__USDHC3_DATA2			0x138e
			IMX95_PAD_SD3_DATA3__USDHC3_DATA3			0x138e
		>;
	};

	pinctrl_usdhc3_100mhz: usdhc3-100mhzgrp {
		fsl,pins = <
			IMX95_PAD_SD3_CLK__USDHC3_CLK				0x158e
			IMX95_PAD_SD3_CMD__USDHC3_CMD				0x138e
			IMX95_PAD_SD3_DATA0__USDHC3_DATA0			0x138e
			IMX95_PAD_SD3_DATA1__USDHC3_DATA1			0x138e
			IMX95_PAD_SD3_DATA2__USDHC3_DATA2			0x138e
			IMX95_PAD_SD3_DATA3__USDHC3_DATA3			0x138e
		>;
	};

	pinctrl_usdhc3_200mhz: usdhc3-200mhzgrp {
		fsl,pins = <
			IMX95_PAD_SD3_CLK__USDHC3_CLK				0x15fe
			IMX95_PAD_SD3_CMD__USDHC3_CMD				0x13fe
			IMX95_PAD_SD3_DATA0__USDHC3_DATA0			0x13fe
			IMX95_PAD_SD3_DATA1__USDHC3_DATA1			0x13fe
			IMX95_PAD_SD3_DATA2__USDHC3_DATA2			0x13fe
			IMX95_PAD_SD3_DATA3__USDHC3_DATA3			0x13fe
		>;
	};

	pinctrl_flexcan1: flexcan1grp{
		fsl,pins = <
			IMX95_PAD_PDM_CLK__AONMIX_TOP_CAN1_TX		0x39e
			IMX95_PAD_PDM_BIT_STREAM0__AONMIX_TOP_CAN1_RX	0x39e
		>;
	};

	pinctrl_tpm6: tpm6grp {
		fsl,pins = <
			IMX95_PAD_GPIO_IO23__TPM6_CH1	0x31e
		>;
	};

	pinctrl_tpm3: tpm3grp {
		fsl,pins = <
			IMX95_PAD_GPIO_IO20__TPM3_CH1  	0x31e
		>;
	};

	pinctrl_gpio1: gpio1grp {
		fsl,pins = <
			IMX95_PAD_PDM_BIT_STREAM1__AONMIX_TOP_GPIO1_IO_BIT10	0x31e
		>;
	};

	pinctrl_gpio2: gpio2grp {
		fsl,pins = <
			IMX95_PAD_GPIO_IO14__GPIO2_IO_BIT14	0x50e
			IMX95_PAD_GPIO_IO15__GPIO2_IO_BIT15	0x30e
			IMX95_PAD_GPIO_IO16__GPIO2_IO_BIT16	0x50e
			IMX95_PAD_GPIO_IO17__GPIO2_IO_BIT17	0x50e
			IMX95_PAD_GPIO_IO18__GPIO2_IO_BIT18	0x50e
			IMX95_PAD_GPIO_IO19__GPIO2_IO_BIT19	0x50e
			IMX95_PAD_GPIO_IO20__GPIO2_IO_BIT20	0x50e
			IMX95_PAD_GPIO_IO21__GPIO2_IO_BIT21	0x50e
			IMX95_PAD_GPIO_IO22__GPIO2_IO_BIT22	0x50e
			IMX95_PAD_GPIO_IO24__GPIO2_IO_BIT24	0x50e
			IMX95_PAD_GPIO_IO25__GPIO2_IO_BIT25	0x50e
			IMX95_PAD_GPIO_IO26__GPIO2_IO_BIT26	0x50e
			IMX95_PAD_GPIO_IO27__GPIO2_IO_BIT27	0x50e
		>;
	};

	pinctrl_gpio3: gpio3grp {
		fsl,pins = <
			IMX95_PAD_CCM_CLKO2__GPIO3_IO_BIT27	0x50e
		>;
	};

	pinctrl_gpio4: gpio4grp {
		fsl,pins = <
			IMX95_PAD_ENET2_MDC__GPIO4_IO_BIT14	0x50e
			IMX95_PAD_ENET2_MDIO__GPIO4_IO_BIT15	0x50e
			IMX95_PAD_CCM_CLKO4__GPIO4_IO_BIT29	0x50e
		>;
	};

	pinctrl_gpio5: gpio5grp {
		fsl,pins = <
			IMX95_PAD_XSPI1_DQS__GPIO5_IO_BIT8	0x50e
			IMX95_PAD_XSPI1_SS1_B__GPIO5_IO_BIT11	0x50e
			IMX95_PAD_GPIO_IO32__GPIO5_IO_BIT12
			IMX95_PAD_GPIO_IO33__GPIO5_IO_BIT13	0x31e
			IMX95_PAD_GPIO_IO34__GPIO5_IO_BIT14	0x50e
		>;
	};
};

